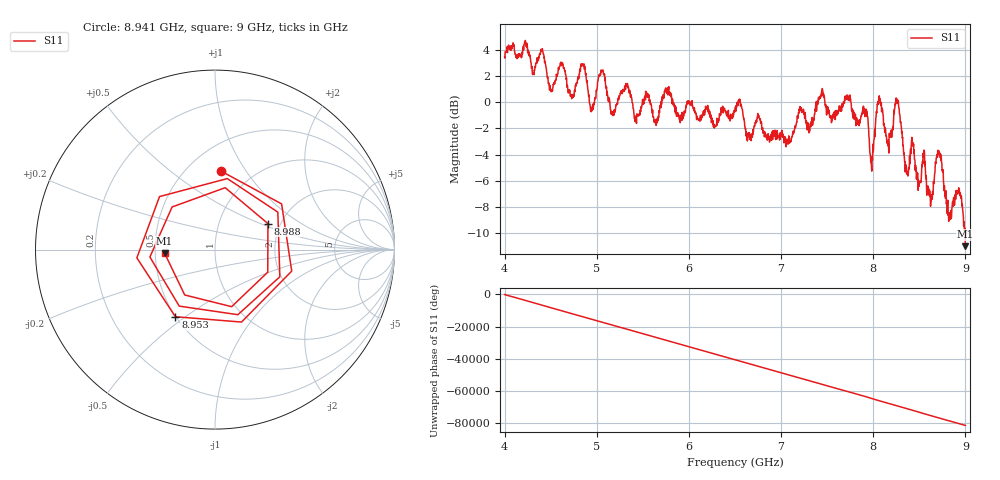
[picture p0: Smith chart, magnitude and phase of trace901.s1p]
! Created with skrf 1.8.0 (http://scikit-rf.org).
# Hz S RI R 50.0
!freq ReS11 ImS11
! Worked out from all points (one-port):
!   1601 points, 4 GHz to 9 GHz, reference 50 ohm
!   lowest |S11| = -11.0 dB at 9 GHz (marker M1), VSWR 1.78, Z = 28 - j1.17 ohm
!   |S11| at or under -10 dB: 8.995619 GHz to end of sweep
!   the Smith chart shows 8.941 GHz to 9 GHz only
!   S11 on the Smith chart (normalised r, x): 8.941 GHz: 0.71, +0.78; 8.953 GHz: 0.50, -0.46; 8.988 GHz: 1.72, +0.56; 9 GHz: 0.56, -0.02
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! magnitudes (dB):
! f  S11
! 4 GHz  3.4
! 4.406 GHz  3.9
! 4.506 GHz  0.8
! 4.625 GHz  3.0
! 4.731 GHz  0.3
! 4.85 GHz  2.8
! 4.944 GHz  -0.7
! 5.047 GHz  2.4
! 5.172 GHz  -0.8
! 5.25 GHz  0.5
! 5.875 GHz  -1.1
! 6.5 GHz  -0.6
! 7.125 GHz  -2.4
! 7.75 GHz  0.1
! 7.919 GHz  -0.8
! 7.984 GHz  -5.3
! 8.059 GHz  0.2
! 8.162 GHz  -2.9
! 8.259 GHz  0.2
! 8.375 GHz  -5.6
! 8.428 GHz  -3.1
! 8.625 GHz  -7.6
! 8.712 GHz  -3.7
! 8.825 GHz  -8.8
! 8.941 GHz  -7.1
! 8.953 GHz  -7.2
! 8.988 GHz  -9.7
! 9 GHz  -11.0
